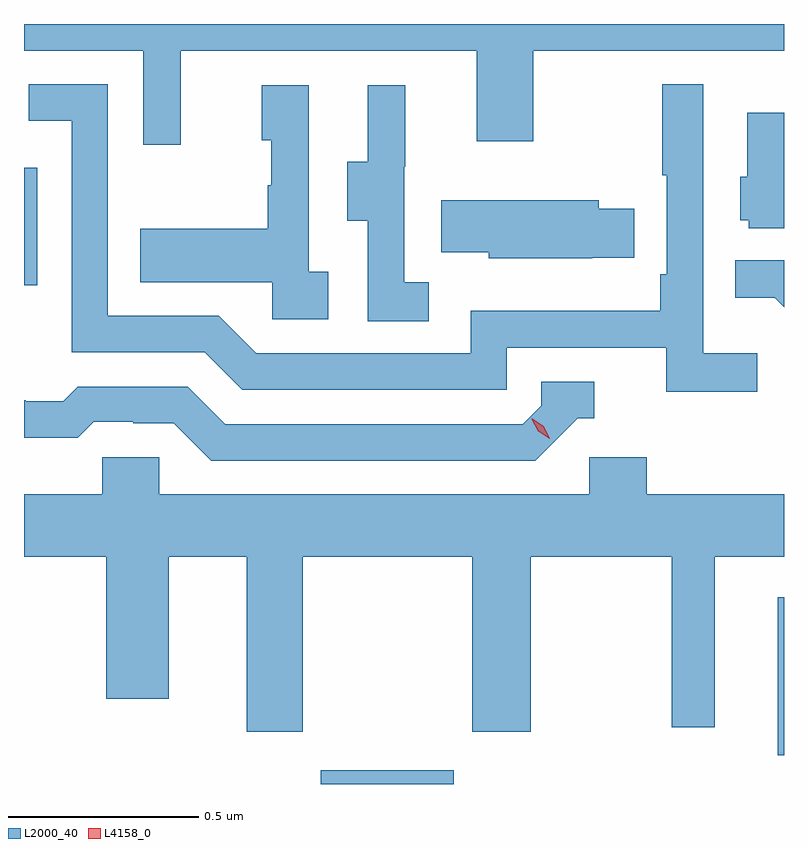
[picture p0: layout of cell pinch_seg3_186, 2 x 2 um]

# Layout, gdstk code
import gdstk
lib = gdstk.Library(unit=1e-6, precision=1e-09)
def R(c, l, rs):  # rectangles x0, y0, x1, y1
    for r in rs: c.add(gdstk.rectangle(r[:2], r[2:], *l))
def P(c, l, *ps):  # polygons
    for p in ps: c.add(gdstk.Polygon(p, *l))
L2000_40 = (2000, 40)
L4158_0 = (4158, 0)

pinch_seg3_186 = lib.new_cell('pinch_seg3_186')
R(pinch_seg3_186, L2000_40, [(992.744,732.286,993.094,732.322), (993.947,732.362,993.963,732.778), (991.963,733.599,991.998,733.908)])
P(pinch_seg3_186, L2000_40, [(991.963,734.216),(992.277,734.216),(992.277,733.968),(992.375,733.968),(992.375,734.216),(993.155,734.216),(993.155,733.977),(993.303,733.977),(993.303,734.216),(993.963,734.216),(993.963,734.286),(991.963,734.286)],
  [(993.892,733.42),(993.75,733.42),(993.75,734.128),(993.642,734.128),(993.642,733.888),(993.654,733.888),(993.654,733.627),(993.637,733.627),(993.637,733.531),(993.138,733.531),(993.138,733.419),(992.574,733.419),(992.475,733.518),(992.184,733.518),(992.184,734.127),(991.975,734.127),(991.975,734.031),(992.088,734.031),(992.088,733.422),(992.438,733.422),(992.537,733.323),(993.234,733.323),(993.234,733.434),(993.653,733.434),(993.653,733.318),(993.892,733.318)],
  [(993.028,733.607),(992.964,733.607),(992.964,733.911),(992.966,733.911),(992.966,734.125),(992.867,734.125),(992.867,733.923),(992.813,733.923),(992.813,733.768),(992.868,733.768),(992.868,733.504),(993.028,733.504)],
  [(992.764,733.634),(992.712,733.634),(992.712,734.125),(992.588,734.125),(992.588,733.98),(992.614,733.98),(992.614,733.862),(992.604,733.862),(992.604,733.747),(992.269,733.747),(992.269,733.607),(992.616,733.607),(992.616,733.509),(992.764,733.509)],
  [(993.963,734.053),(993.866,734.053),(993.866,733.884),(993.848,733.884),(993.848,733.77),(993.87,733.77),(993.87,733.749),(993.963,733.749)],
  [(993.458,733.671),(993.569,733.671),(993.569,733.8),(993.475,733.8),(993.475,733.822),(993.061,733.822),(993.061,733.685),(993.186,733.685),(993.186,733.67),(993.458,733.67)],
  [(993.963,733.664),(993.835,733.664),(993.835,733.565),(993.939,733.565),(993.963,733.541)],
  [(993.42,733.248),(993.463,733.248),(993.463,733.344),(993.324,733.344),(993.324,733.281),(993.276,733.233),(992.493,733.233),(992.394,733.332),(992.105,733.332),(992.066,733.293),(991.967,733.293),(991.967,733.296),(991.963,733.296),(991.963,733.197),(992.105,733.197),(992.147,733.239),(992.25,733.239),(992.25,733.236),(992.357,733.236),(992.456,733.137),(993.309,733.137)],
  [(992.697,732.884),(993.142,732.884),(993.142,732.423),(993.297,732.423),(993.297,732.884),(993.667,732.884),(993.667,732.435),(993.781,732.435),(993.781,732.884),(993.963,732.884),(993.963,733.048),(993.602,733.048),(993.602,733.146),(993.45,733.146),(993.45,733.048),(992.319,733.048),(992.319,733.146),(992.169,733.146),(992.169,733.048),(991.963,733.048),(991.963,732.884),(992.18,732.884),(992.18,732.51),(992.344,732.51),(992.344,732.884),(992.549,732.884),(992.549,732.423),(992.697,732.423)])
P(pinch_seg3_186, L4158_0, [(993.347,733.195),(993.316,733.214),(993.299,733.246),(993.299,733.247),(993.3,733.247),(993.331,733.228),(993.347,733.196),(993.347,733.195)])

lib.write_gds('pinch_seg3_186.gds')
